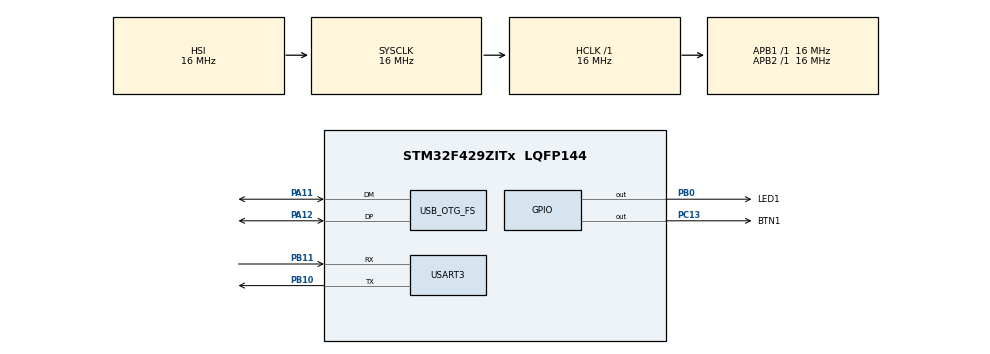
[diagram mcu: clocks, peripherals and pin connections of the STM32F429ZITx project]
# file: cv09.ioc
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Mcu.Family=STM32F4
Mcu.Name=STM32F429ZITx
Mcu.Package=LQFP144
NVIC.OTG_FS_IRQn=true\:0\:0\:false\:false\:true\:false\:true
NVIC.PriorityGroup=NVIC_PRIORITYGROUP_4
PA11.Mode=Device_Only
PA11.Signal=USB_OTG_FS_DM
PA12.Mode=Device_Only
PA12.Signal=USB_OTG_FS_DP
PB0.GPIO_Label=LED1
PB0.Signal=GPIO_Output
PB10.Mode=Asynchronous
PB10.Signal=USART3_TX
PB11.Mode=Asynchronous
PB11.Signal=USART3_RX
PC13.GPIO_Label=BTN1
PC13.GPIO_PuPd=GPIO_NOPULL
PC13.Signal=GPIO_Output
ProjectManager.HeapSize=0x200
ProjectManager.StackSize=0x400
ProjectManager.TargetToolchain=STM32CubeIDE
RCC.AHBFreq_Value=16000000
RCC.APB1Freq_Value=16000000
RCC.APB2Freq_Value=16000000
RCC.CortexFreq_Value=16000000
RCC.HSE_VALUE=25000000
RCC.HSI_VALUE=16000000
RCC.LSE_VALUE=32768
RCC.PLLSourceVirtualString=RCC_PLLSOURCE_HSI
RCC.SYSCLKFreq_VALUE=16000000
RCC.VCOOutputFreq_Value=192000000
USART3.VirtualMode=VM_ASYNC
USB_DEVICE.CLASS_NAME_FS=HID
USB_DEVICE.VirtualMode-HID_FS=Hid
USB_DEVICE.VirtualModeFS=Hid_FS
USB_OTG_FS.VirtualMode=Device_Only
VP_USB_DEVICE_VS_USB_DEVICE_HID_FS.Mode=HID_FS
board=NUCLEO-F429ZI

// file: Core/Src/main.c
/* USER CODE BEGIN Header */
/**
 ******************************************************************************
 * @file           : main.c
 * @brief          : Main program body
 ******************************************************************************
 * @attention
 *
 * <h2><center>&copy; Copyright (c) 2020 STMicroelectronics.
 * All rights reserved.</center></h2>
 *
 * This software component is licensed by ST under BSD 3-Clause license,
 * the "License"; You may not use this file except in compliance with the
 * License. You may obtain a copy of the License at:
 *                        opensource.org/licenses/BSD-3-Clause
 *
 ******************************************************************************
 */
/* USER CODE END Header */

#include "main.h"
#include "usb_device.h"

/* USER CODE BEGIN Includes */
#include "usbd_hid.h"
#include <math.h>
#include <stdbool.h>
/* USER CODE END Includes */

/* USER CODE BEGIN PM */
#define ANGLE_STEP 50
/* USER CODE END PM */

UART_HandleTypeDef huart3;

void SystemClock_Config(void);
static void MX_GPIO_Init(void);
static void MX_USART3_UART_Init(void);
/* USER CODE BEGIN PFP */
extern USBD_HandleTypeDef hUsbDeviceFS;
void step(int8_t x, int8_t y, _Bool btn);
void circle(uint16_t radius);
/* USER CODE END PFP */

/* USER CODE BEGIN 0 */

void step(int8_t x, int8_t y, _Bool btn)
{
	uint8_t buff[5];
	buff[0] = 0x02;
	if (btn) buff[1] = 0x01;
	else     buff[1] = 0x00;
	buff[2] = x;
	buff[3] = y;
	buff[4] = 0;
	USBD_HID_SendReport(&hUsbDeviceFS, buff, sizeof(buff));
	HAL_Delay(USBD_HID_GetPollingInterval(&hUsbDeviceFS));
}

void circle(uint16_t radius)
{

	float x = 0, y = 0, sx = 0, sy = 0;
	uint8_t param_x, param_y,i;

	while(i < ANGLE_STEP)
	{
		x = radius * cos((2 * M_PI * i) / (ANGLE_STEP));
		y = radius * sin((2 * M_PI * i) / (ANGLE_STEP));
		param_x = round (x - sx);
		param_y = round (y - sy);

		sx = param_x;
		sy = param_y;
		i++;

		step(param_x, param_y, true);
	}
}

//BONUSOVA ULOHA
void keyboard(uint8_t key_1, uint8_t key_2)
{
	uint8_t buff[9];
	buff[0] = 0x01;
	buff[1] = key_1;
	buff[2] = 0x00;
	buff[3] = key_2;
	buff[4] = 0x00;
	buff[5] = 0x00;
	buff[6] = 0x00;
	buff[7] = 0x00;
	buff[8] = 0x00;

	USBD_HID_SendReport(&hUsbDeviceFS, buff, sizeof(buff));
	HAL_Delay(3*USBD_HID_GetPollingInterval(&hUsbDeviceFS));

	buff[1] = 0;
	buff[3] = 0;

	USBD_HID_SendReport(&hUsbDeviceFS, buff, sizeof(buff));
	HAL_Delay(3*USBD_HID_GetPollingInterval(&hUsbDeviceFS));
}

static void paint(void)
{
	//MSPAINT
	keyboard(0x15, 0x08);
	keyboard(0x10, 0x00);
	keyboard(0x16, 0x00);
	keyboard(0x13, 0x00);
	keyboard(0x04, 0x00);
	keyboard(0x0C, 0x00);
	keyboard(0x11, 0x00);
	keyboard(0x17, 0x00);
	keyboard(0x28, 0x00);

	HAL_Delay(200);

	step(50, 50, 0);
	circle(50);
	step(0, 0, 0);
	step(20, 20, 0);
	circle(5);
	step(0, 0, 0);
	step(40, 40, 0);
    circle(5);
	//...kreslienie smilika, nevedel som si to predstavit
}
/* USER CODE END 0 */

int main(void)
{

	/* MCU Configuration--------------------------------------------------------*/

	/* Reset of all peripherals, Initializes the Flash interface and the Systick. */
	HAL_Init();

	/* Configure the system clock */
	SystemClock_Config();

	/* Initialize all configured peripherals */
	MX_GPIO_Init();
	MX_USB_DEVICE_Init();
	MX_USART3_UART_Init();

	/* Infinite loop */
	while (1)
	{

		/* USER CODE BEGIN 3 */
		if(HAL_GPIO_ReadPin(BTN1_GPIO_Port, BTN1_Pin) == 1)
		{
			circle(60);
			//paint();

		}
	}
	/* USER CODE END 3 */
}

void SystemClock_Config(void)
{
	RCC_OscInitTypeDef RCC_OscInitStruct = {0};
	RCC_ClkInitTypeDef RCC_ClkInitStruct = {0};

	/** Configure the main internal regulator output voltage
	 */
	__HAL_RCC_PWR_CLK_ENABLE();
	__HAL_PWR_VOLTAGESCALING_CONFIG(PWR_REGULATOR_VOLTAGE_SCALE3);
	/** Initializes the CPU, AHB and APB busses clocks
	 */
	RCC_OscInitStruct.OscillatorType = RCC_OSCILLATORTYPE_HSI;
	RCC_OscInitStruct.HSIState = RCC_HSI_ON;
	RCC_OscInitStruct.HSICalibrationValue = RCC_HSICALIBRATION_DEFAULT;
	RCC_OscInitStruct.PLL.PLLState = RCC_PLL_ON;
	RCC_OscInitStruct.PLL.PLLSource = RCC_PLLSOURCE_HSI;
	RCC_OscInitStruct.PLL.PLLM = 16;
	RCC_OscInitStruct.PLL.PLLN = 192;
	RCC_OscInitStruct.PLL.PLLP = RCC_PLLP_DIV2;
	RCC_OscInitStruct.PLL.PLLQ = 4;
	if (HAL_RCC_OscConfig(&RCC_OscInitStruct) != HAL_OK)
	{
		Error_Handler();
	}
	/** Initializes the CPU, AHB and APB busses clocks
	 */
	RCC_ClkInitStruct.ClockType = RCC_CLOCKTYPE_HCLK|RCC_CLOCKTYPE_SYSCLK
			|RCC_CLOCKTYPE_PCLK1|RCC_CLOCKTYPE_PCLK2;
	RCC_ClkInitStruct.SYSCLKSource = RCC_SYSCLKSOURCE_HSI;
	RCC_ClkInitStruct.AHBCLKDivider = RCC_SYSCLK_DIV1;
	RCC_ClkInitStruct.APB1CLKDivider = RCC_HCLK_DIV1;
	RCC_ClkInitStruct.APB2CLKDivider = RCC_HCLK_DIV1;

	if (HAL_RCC_ClockConfig(&RCC_ClkInitStruct, FLASH_LATENCY_0) != HAL_OK)
	{
		Error_Handler();
	}
}

static void MX_USART3_UART_Init(void)
{

	huart3.Instance = USART3;
	huart3.Init.BaudRate = 115200;
	huart3.Init.WordLength = UART_WORDLENGTH_8B;
	huart3.Init.StopBits = UART_STOPBITS_1;
	huart3.Init.Parity = UART_PARITY_NONE;
	huart3.Init.Mode = UART_MODE_TX_RX;
	huart3.Init.HwFlowCtl = UART_HWCONTROL_NONE;
	huart3.Init.OverSampling = UART_OVERSAMPLING_16;
	if (HAL_UART_Init(&huart3) != HAL_OK)
	{
		Error_Handler();
	}

}

static void MX_GPIO_Init(void)
{
	GPIO_InitTypeDef GPIO_InitStruct = {0};

	/* GPIO Ports Clock Enable */
	__HAL_RCC_GPIOC_CLK_ENABLE();
	__HAL_RCC_GPIOB_CLK_ENABLE();
	__HAL_RCC_GPIOA_CLK_ENABLE();

	/*Configure GPIO pin Output Level */
	HAL_GPIO_WritePin(BTN1_GPIO_Port, BTN1_Pin, GPIO_PIN_RESET);

	/*Configure GPIO pin Output Level */
	HAL_GPIO_WritePin(LED1_GPIO_Port, LED1_Pin, GPIO_PIN_RESET);

	/*Configure GPIO pin : BTN1_Pin */
	GPIO_InitStruct.Pin = BTN1_Pin;
	GPIO_InitStruct.Mode = GPIO_MODE_OUTPUT_PP;
	GPIO_InitStruct.Pull = GPIO_NOPULL;
	GPIO_InitStruct.Speed = GPIO_SPEED_FREQ_LOW;
	HAL_GPIO_Init(BTN1_GPIO_Port, &GPIO_InitStruct);

	/*Configure GPIO pin : LED1_Pin */
	GPIO_InitStruct.Pin = LED1_Pin;
	GPIO_InitStruct.Mode = GPIO_MODE_OUTPUT_PP;
	GPIO_InitStruct.Pull = GPIO_NOPULL;
	GPIO_InitStruct.Speed = GPIO_SPEED_FREQ_LOW;
	HAL_GPIO_Init(LED1_GPIO_Port, &GPIO_InitStruct);

}

void Error_Handler(void)
{
}

/************************ (C) COPYRIGHT STMicroelectronics *****END OF FILE****/
